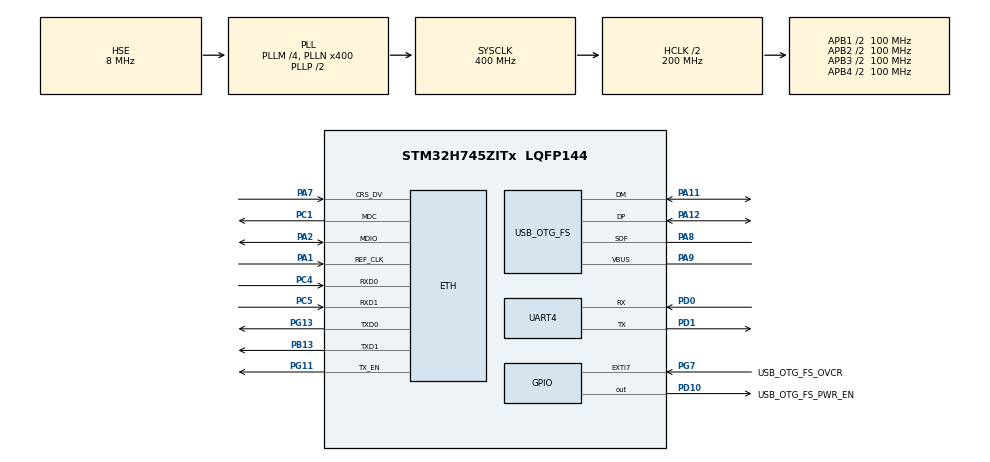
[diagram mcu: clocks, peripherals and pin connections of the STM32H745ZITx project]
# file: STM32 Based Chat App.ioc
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CORTEX_M7.AccessPermission_S-Cortex_Memory_Protection_Unit_Region1_Settings_S=MPU_REGION_FULL_ACCESS
CORTEX_M7.AccessPermission_S-Cortex_Memory_Protection_Unit_Region2_Settings_S=MPU_REGION_FULL_ACCESS
CORTEX_M7.BaseAddress_S-Cortex_Memory_Protection_Unit_Region1_Settings_S=0x30020000
CORTEX_M7.BaseAddress_S-Cortex_Memory_Protection_Unit_Region2_Settings_S=0x30040000
CORTEX_M7.CPU_DCache=Enabled
CORTEX_M7.CPU_ICache=Enabled
CORTEX_M7.DisableExec_S-Cortex_Memory_Protection_Unit_Region1_Settings_S=MPU_INSTRUCTION_ACCESS_DISABLE
CORTEX_M7.DisableExec_S-Cortex_Memory_Protection_Unit_Region2_Settings_S=MPU_INSTRUCTION_ACCESS_DISABLE
CORTEX_M7.Enable_S-Cortex_Memory_Protection_Unit_Region1_Settings_S=MPU_REGION_ENABLE
CORTEX_M7.Enable_S-Cortex_Memory_Protection_Unit_Region2_Settings_S=MPU_REGION_ENABLE
CORTEX_M7.IsBufferable_S-Cortex_Memory_Protection_Unit_Region2_Settings_S=MPU_ACCESS_BUFFERABLE
CORTEX_M7.IsShareable_S-Cortex_Memory_Protection_Unit_Region2_Settings_S=MPU_ACCESS_SHAREABLE
CORTEX_M7.Size_S-Cortex_Memory_Protection_Unit_Region1_Settings_S=MPU_REGION_SIZE_128KB
CORTEX_M7.Size_S-Cortex_Memory_Protection_Unit_Region2_Settings_S=MPU_REGION_SIZE_512B
CORTEX_M7.TypeExtField_S-Cortex_Memory_Protection_Unit_Region1_Settings_S=MPU_TEX_LEVEL1
CORTEX_M7.default_mode_Activation=1
CortexM4.IPs=FATFS_M4\:I,FREERTOS_M4\:I,IWDG2\:I,RCC,WWDG2\:I,DMA,BDMA,MDMA,NVIC2\:I,DEBUG,PDM2PCM_M4\:I,PWR,RESMGR_UTILITY,SYS_M4\:I,USB_DEVICE_M4\:I,USB_HOST_M4\:I,CORTEX_M4\:I,OPENAMP_M4\:I,VREFBUF
CortexM7.IPs=FATFS_M7\:I,FREERTOS_M7\:I,IWDG1\:I,RCC\:I,WWDG1\:I,DMA\:I,BDMA\:I,MDMA\:I,NVIC1\:I,SYS\:I,USB_OTG_FS\:I,ETH\:I,CORTEX_M7\:I,DEBUG\:I,PDM2PCM_M7\:I,PWR\:I,RESMGR_UTILITY\:I,USB_DEVICE_M7\:I,USB_HOST_M7\:I,OPENAMP_M7\:I,VREFBUF\:I,TIM6\:I,LWIP\:I,UART4\:I
Dma.Request0=UART4_TX
Dma.Request1=UART4_RX
Dma.UART4_RX.1.Direction=DMA_PERIPH_TO_MEMORY
Dma.UART4_RX.1.EventEnable=DISABLE
Dma.UART4_RX.1.FIFOMode=DMA_FIFOMODE_DISABLE
Dma.UART4_RX.1.Instance=DMA1_Stream1
Dma.UART4_RX.1.MemDataAlignment=DMA_MDATAALIGN_BYTE
Dma.UART4_RX.1.MemInc=DMA_MINC_ENABLE
Dma.UART4_RX.1.Mode=DMA_NORMAL
Dma.UART4_RX.1.PeriphDataAlignment=DMA_PDATAALIGN_BYTE
Dma.UART4_RX.1.PeriphInc=DMA_PINC_DISABLE
Dma.UART4_RX.1.Polarity=HAL_DMAMUX_REQ_GEN_RISING
Dma.UART4_RX.1.Priority=DMA_PRIORITY_LOW
Dma.UART4_RX.1.RequestNumber=1
Dma.UART4_RX.1.SignalID=NONE
Dma.UART4_RX.1.SyncEnable=DISABLE
Dma.UART4_RX.1.SyncPolarity=HAL_DMAMUX_SYNC_NO_EVENT
Dma.UART4_RX.1.SyncRequestNumber=1
Dma.UART4_RX.1.SyncSignalID=NONE
Dma.UART4_TX.0.Direction=DMA_MEMORY_TO_PERIPH
Dma.UART4_TX.0.EventEnable=DISABLE
Dma.UART4_TX.0.FIFOMode=DMA_FIFOMODE_DISABLE
Dma.UART4_TX.0.Instance=DMA1_Stream0
Dma.UART4_TX.0.MemDataAlignment=DMA_MDATAALIGN_BYTE
Dma.UART4_TX.0.MemInc=DMA_MINC_ENABLE
Dma.UART4_TX.0.Mode=DMA_NORMAL
Dma.UART4_TX.0.PeriphDataAlignment=DMA_PDATAALIGN_BYTE
Dma.UART4_TX.0.PeriphInc=DMA_PINC_DISABLE
Dma.UART4_TX.0.Polarity=HAL_DMAMUX_REQ_GEN_RISING
Dma.UART4_TX.0.Priority=DMA_PRIORITY_LOW
Dma.UART4_TX.0.RequestNumber=1
Dma.UART4_TX.0.SignalID=NONE
Dma.UART4_TX.0.SyncEnable=DISABLE
Dma.UART4_TX.0.SyncPolarity=HAL_DMAMUX_SYNC_NO_EVENT
Dma.UART4_TX.0.SyncRequestNumber=1
Dma.UART4_TX.0.SyncSignalID=NONE
ETH.MediaInterface=HAL_ETH_RMII_MODE
ETH.RxBuffAddress=0x30040200
ETH.RxBuffLen=1536
ETH.RxDescAddress=0x30040000
ETH.TxDescAddress=0x30040100
FREERTOS_M7.Tasks01=defaultTask,24,512,StartDefaultTask,Default,NULL,Dynamic,NULL,NULL;myTask02,24,512,StartTask02,Default,NULL,Dynamic,NULL,NULL
FREERTOS_M7.configCHECK_FOR_STACK_OVERFLOW=1
FREERTOS_M7.configMINIMAL_STACK_SIZE=512
FREERTOS_M7.configTOTAL_HEAP_SIZE=30*8192
FREERTOS_M7.configUSE_NEWLIB_REENTRANT=1
LWIP.BSP.number=1
LWIP.DEFAULT_THREAD_STACKSIZE=2048
LWIP.IP_ADDRESS=192.168.001.010
LWIP.LWIP_DHCP=0
LWIP.LWIP_RAM_HEAP_POINTER=0x30020000
LWIP.MEM_SIZE=131048
LWIP.NETMASK_ADDRESS=255.255.255.000
LWIP.TCPIP_THREAD_STACKSIZE=2048
LWIP.TCP_MSS=1460
LWIP.TCP_SND_BUF=5840
LWIP.TCP_SND_QUEUELEN=16
LWIP.Version=v2.1.2_Cube
LWIP0.BSP.STBoard=false
LWIP0.BSP.api=BSP_COMPONENT_DRIVER
LWIP0.BSP.component=LAN8742
LWIP0.BSP.instance=LAN8742
LWIP0.BSP.name=Driver_PHY
LWIP0.BSP.semaphore=S_LAN8742
LWIP0.BSP.solution=LAN8742
Mcu.Family=STM32H7
Mcu.Name=STM32H745ZITx
Mcu.Package=LQFP144
NVIC1.DMA1_Stream0_IRQn=true\:5\:0\:false\:false\:true\:true\:false\:true\:true
NVIC1.DMA1_Stream1_IRQn=true\:5\:0\:false\:false\:true\:true\:false\:true\:true
NVIC1.ETH_IRQn=true\:5\:0\:false\:false\:true\:true\:true\:true\:true
NVIC1.OTG_FS_IRQn=true\:5\:0\:false\:false\:true\:true\:false\:true\:true
NVIC1.PriorityGroup=NVIC_PRIORITYGROUP_4
NVIC1.TIM6_DAC_IRQn=true\:15\:0\:false\:false\:true\:false\:false\:true\:true
NVIC1.TimeBase=TIM6_DAC_IRQn
NVIC1.TimeBaseIP=TIM6
NVIC1.UART4_IRQn=true\:5\:0\:false\:false\:true\:true\:true\:true\:true
NVIC2.PriorityGroup=NVIC_PRIORITYGROUP_4
PA1.GPIO_Speed=GPIO_SPEED_FREQ_VERY_HIGH
PA1.Mode=RMII
PA1.PinAttribute=CortexM7
PA1.Signal=ETH_REF_CLK
PA11.Mode=Host_Only
PA11.PinAttribute=CortexM7
PA11.Signal=USB_OTG_FS_DM
PA12.Mode=Host_Only
PA12.PinAttribute=CortexM7
PA12.Signal=USB_OTG_FS_DP
PA2.GPIO_Speed=GPIO_SPEED_FREQ_VERY_HIGH
PA2.Mode=RMII
PA2.PinAttribute=CortexM7
PA2.Signal=ETH_MDIO
PA7.GPIO_Speed=GPIO_SPEED_FREQ_VERY_HIGH
PA7.Mode=RMII
PA7.PinAttribute=CortexM7
PA7.Signal=ETH_CRS_DV
PA8.Mode=Activate_SOF_FS
PA8.PinAttribute=CortexM7
PA8.Signal=USB_OTG_FS_SOF
PA9.Mode=Activate_VBUS
PA9.PinAttribute=CortexM7
PA9.Signal=USB_OTG_FS_VBUS
PB13.GPIO_Speed=GPIO_SPEED_FREQ_VERY_HIGH
PB13.Mode=RMII
PB13.PinAttribute=CortexM7
PB13.Signal=ETH_TXD1
PC1.GPIO_Speed=GPIO_SPEED_FREQ_VERY_HIGH
PC1.Mode=RMII
PC1.PinAttribute=CortexM7
PC1.Signal=ETH_MDC
PC14-OSC32_IN\ (OSC32_IN).PinAttribute=CortexM7
PC14-OSC32_IN\ (OSC32_IN).Signal=RCC_OSC32_IN
PC15-OSC32_OUT\ (OSC32_OUT).PinAttribute=CortexM7
PC15-OSC32_OUT\ (OSC32_OUT).Signal=RCC_OSC32_OUT
PC4.GPIO_Speed=GPIO_SPEED_FREQ_VERY_HIGH
PC4.Mode=RMII
PC4.PinAttribute=CortexM7
PC4.Signal=ETH_RXD0
PC5.GPIO_Speed=GPIO_SPEED_FREQ_VERY_HIGH
PC5.Mode=RMII
PC5.PinAttribute=CortexM7
PC5.Signal=ETH_RXD1
PD0.Mode=Asynchronous
PD0.PinAttribute=CortexM7
PD0.Signal=UART4_RX
PD1.Mode=Asynchronous
PD1.PinAttribute=CortexM7
PD1.Signal=UART4_TX
PD10.GPIO_Label=USB_OTG_FS_PWR_EN
PD10.PinAttribute=Free
PD10.Signal=GPIO_Output
PG11.GPIO_Speed=GPIO_SPEED_FREQ_VERY_HIGH
PG11.Mode=RMII
PG11.PinAttribute=CortexM7
PG11.Signal=ETH_TX_EN
PG13.GPIO_Speed=GPIO_SPEED_FREQ_VERY_HIGH
PG13.Mode=RMII
PG13.PinAttribute=CortexM7
PG13.Signal=ETH_TXD0
PG7.GPIO_Label=USB_OTG_FS_OVCR
PG7.PinAttribute=Free
PG7.Signal=GPXTI7
PH0-OSC_IN\ (PH0).Mode=HSE-External-Clock-Source
PH0-OSC_IN\ (PH0).PinAttribute=CortexM7
PH0-OSC_IN\ (PH0).Signal=RCC_OSC_IN
PH1-OSC_OUT\ (PH1).PinAttribute=CortexM7
PH1-OSC_OUT\ (PH1).Signal=RCC_OSC_OUT
ProjectManager.HeapSize=M4-0x200,M7-0x200
ProjectManager.StackSize=M4-0x400,M7-0x400
ProjectManager.TargetToolchain=STM32CubeIDE
RCC.ADCFreq_Value=16125000
RCC.APB1Freq_Value=100000000
RCC.APB2Freq_Value=100000000
RCC.APB3Freq_Value=100000000
RCC.APB4Freq_Value=100000000
RCC.CortexFreq_Value=400000000
RCC.D1PPRE=RCC_APB3_DIV2
RCC.D2PPRE1=RCC_APB1_DIV2
RCC.D2PPRE2=RCC_APB2_DIV2
RCC.D3PPRE=RCC_APB4_DIV2
RCC.DIVM1=4
RCC.DIVM3=7
RCC.DIVN1=400
RCC.DIVN3=169
RCC.DIVQ3=4
RCC.HCLKFreq_Value=200000000
RCC.HPRE=RCC_HCLK_DIV2
RCC.HSE_VALUE=8000000
RCC.PLL2FRACN=0
RCC.PLL3FRACN=0
RCC.PLLFRACN=0
RCC.SYSCLKFreq_VALUE=400000000
RCC.SYSCLKSource=RCC_SYSCLKSOURCE_PLLCLK
RCC.SupplySource=PWR_DIRECT_SMPS_SUPPLY
RCC.USBCLockSelection=RCC_USBCLKSOURCE_PLL3
RCC.USBFreq_Value=48285714.28571429
USB_HOST.BSP.number=1
USB_HOST0.BSP.STBoard=false
USB_HOST0.BSP.api=Unknown
USB_HOST0.BSP.instance=PD10
USB_HOST0.BSP.ip=GPIO
USB_HOST0.BSP.mode=Output
USB_HOST0.BSP.name=Drive_VBUS_FS
USB_HOST0.BSP.solution=PD10
USB_HOST_M7.USBH_HandleTypeDef-HID_FS=hUsbHostFS
USB_HOST_M7.VirtualModeFS=Hid
USB_OTG_FS.VirtualMode=Host_Only
USB_OTG_FS.phy_itface=HCD_PHY_EMBEDDED
VP_FREERTOS_M7_VS_CMSIS_V2.Mode=CMSIS_V2
VP_LWIP_VS_Enabled.Mode=Enabled
VP_SYS_M4_VS_Systick.Mode=SysTick
VP_SYS_VS_tim6.Mode=TIM6
VP_USB_HOST_M7_VS_USB_HOST_HID_FS.Mode=HID_FS
board=NUCLEO-H745ZI-Q

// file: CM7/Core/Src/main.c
/* USER CODE BEGIN Header */
/**
  ******************************************************************************
  * @file           : main.c
  * @brief          : Main program body
  ******************************************************************************
  * @attention
  *
  * Copyright (c) 2022 STMicroelectronics.
  * All rights reserved.
  *
  * This software is licensed under terms that can be found in the LICENSE file
  * in the root directory of this software component.
  * If no LICENSE file comes with this software, it is provided AS-IS.
  *
  ******************************************************************************
  */
/* USER CODE END Header */
#include "main.h"
#include "cmsis_os.h"
#include "lwip.h"
#include "usb_host.h"

/* USER CODE BEGIN Includes */
/* ETH_CODE: add lwiperf, see comment in StartDefaultTask function */
#include "lwip/apps/lwiperf.h"
#include "lwip/debug.h"
#include "lwip/stats.h"
#include "lwip/tcp.h"
#include "usbh_hid.h"
#include "string.h"
#include "stdbool.h"
/* USER CODE END Includes */

/* USER CODE BEGIN PTD */
typedef enum
{
	NOT_CONNECTED_TO_SERVER,
	CONNECTED_TO_SERVER
}Server_Connection_Status;

typedef enum
{
	NONE,
	NEXTION_MESSAGE_ARRIVED,
	NEXTION_SERVER_INPUT,
	NEXTION_PORT_INPUT,
	NEXTION_CONNECT_COMMAND,
	TCP_MESSAGE_ARRIVED,
	NEXTION_MESSAGE_INPUT,
	SEND_TCP_MESSAGE,
	NEXTION_GO_TO_NEXT_PAGE,
	TCP_CONNECTION_ERROR
}Condition;
/* USER CODE END PTD */

/* USER CODE BEGIN PD */

#ifndef HSEM_ID_0
#define HSEM_ID_0 (0U) /* HW semaphore 0*/
#endif
/* USER CODE END PD */

UART_HandleTypeDef huart4;
DMA_HandleTypeDef hdma_uart4_tx;
DMA_HandleTypeDef hdma_uart4_rx;

/* Definitions for defaultTask */
osThreadId_t defaultTaskHandle;
const osThreadAttr_t defaultTask_attributes = {
  .name = "defaultTask",
  .stack_size = 512 * 4,
  .priority = (osPriority_t) osPriorityNormal,
};
/* Definitions for myTask02 */
osThreadId_t myTask02Handle;
const osThreadAttr_t myTask02_attributes = {
  .name = "myTask02",
  .stack_size = 512 * 4,
  .priority = (osPriority_t) osPriorityNormal,
};

void SystemClock_Config(void);
static void MPU_Config(void);
static void MX_GPIO_Init(void);
static void MX_DMA_Init(void);
static void MX_UART4_Init(void);
void StartDefaultTask(void *argument);
void StartTask02(void *argument);

/* USER CODE BEGIN PFP */
uint8_t received_message[100];
uint8_t keybord_buffer[100];
uint8_t keyboard_indis = 0;

uint8_t error_message[] = {'t','0','.','t','x','t','+','=','\"','.','.','.','C','o','n','n','e','c','t','i','o','n',' ','L','o','s','t',' ','.','.','.','\r','\n','\"',0xFF,0xFF,0xFF};
uint8_t clear_command[] = {'t','1','.','t','x','t','=','\"','\"',0xFF,0xFF,0xFF};
uint8_t make_button_visible[] = {'v','i','s',' ','b','1',',','1',0xFF,0xFF,0xFF};

uint8_t nextion_buffer[100];

struct tcp_pcb *tcp_block;
HID_KEYBD_Info_TypeDef *keyboard;
struct pbuf *received_buffer;

uint8_t server_adress_char[20];
uint8_t port_char[20];

uint8_t server_address[20];
uint8_t port[20];

bool sent = false;
Condition previous_condition = 0;

Server_Connection_Status server_connection_status;
Condition condition;

uint8_t ip[4];
uint8_t n_tokens = 4;

char **token_arr (const char *str, int *n_tokens)
{
    char **arr = malloc(*n_tokens * sizeof *arr);
    char str2 [strlen(str) + 1];
    int i = 0;

    strcpy (str2, str);

    char *p = strtok (str2, ".");

    while (i < *n_tokens && p != NULL) {    /* check used pointers */
        arr[i] = strdup (p);
        p = strtok (NULL, ".");
        i++;
    }
    *n_tokens = i;  /* assign i to make tokes assigned available */

    return arr;
}

bool compare(uint8_t string1[], uint8_t string2[])
{
	uint8_t len = strlen((const char *) string2);
	bool result = true;
	for(uint8_t i = 0 ; i < len ; i++)
	{
		if(string1[i] != string2[i])
		{
			result = false;
			break;
		}

	}
	return result;
}

void USBH_HID_EventCallback(USBH_HandleTypeDef *phost)
{
  if(USBH_HID_GetDeviceType(phost) == HID_KEYBOARD)
  {
	  keyboard = USBH_HID_GetKeybdInfo(phost);
	   uint8_t character = USBH_HID_GetASCIICode(keyboard);
	  if(character != 0)
	{
		 if(keyboard->keys[0] == KEY_ENTER)
		 {
			 condition = SEND_TCP_MESSAGE;
		 }
		 else
		 {
		     keybord_buffer[keyboard_indis] = character;
		     keyboard_indis++;
		     sent = false;
		     if(condition == NEXTION_SERVER_INPUT || condition == NEXTION_PORT_INPUT)
		     {
		    	 condition = condition;
		     }
		     else
		     {
		    	 condition = NEXTION_MESSAGE_INPUT;
		     }

		 }

	}

  }
}

extern USBH_HandleTypeDef hUsbHostFS;

err_t tcp_message_received_callback(void *arg, struct tcp_pcb *tpcb,struct pbuf *p, err_t err)
{
	if(err == ERR_ABRT)
	{
		condition = TCP_CONNECTION_ERROR;
	}
	else
	{
		received_buffer = p;
		condition = TCP_MESSAGE_ARRIVED;
	}

	return err;
}

err_t tcp_message_sent_callback(void *arg, struct tcp_pcb *tpcb,  u16_t len)
{
	 return 0;
}

void  tcp_connection_error_callback(void *arg, err_t err)
{
	condition = TCP_CONNECTION_ERROR;
}

 err_t tcp_connected_to_server_callback(void *arg, struct tcp_pcb *tpcb, err_t err)
 {
	 server_connection_status = CONNECTED_TO_SERVER;
	 tcp_sent(tcp_block, tcp_message_sent_callback);
	 tcp_recv(tcp_block, tcp_message_received_callback);
	 tcp_err(tpcb, tcp_connection_error_callback);
	 condition = NEXTION_GO_TO_NEXT_PAGE;
	 return err;
 }

/* USER CODE END PFP */

/* USER CODE BEGIN 0 */
 uint8_t nextion_cmd[50];
 static uint8_t buffer[50];
 void HAL_UARTEx_RxEventCallback(UART_HandleTypeDef *huart, uint16_t Size)
 {
	 condition = NEXTION_MESSAGE_ARRIVED;
	 memcpy(nextion_cmd,buffer,Size);
	 memset(buffer,0,Size);
	 HAL_UARTEx_ReceiveToIdle_IT(&huart4, buffer, 50);
 }
/* USER CODE END 0 */

int main(void)
{
/* USER CODE BEGIN Boot_Mode_Sequence_0 */

/* USER CODE END Boot_Mode_Sequence_0 */

  /* MPU Configuration--------------------------------------------------------*/
  MPU_Config();

  /* Enable I-Cache---------------------------------------------------------*/
  SCB_EnableICache();

  /* Enable D-Cache---------------------------------------------------------*/
  SCB_EnableDCache();

/* USER CODE BEGIN Boot_Mode_Sequence_1 */

/* USER CODE END Boot_Mode_Sequence_1 */
  /* MCU Configuration--------------------------------------------------------*/

  /* Reset of all peripherals, Initializes the Flash interface and the Systick. */
  HAL_Init();

  /* Configure the system clock */
  SystemClock_Config();
/* USER CODE BEGIN Boot_Mode_Sequence_2 */

/* USER CODE END Boot_Mode_Sequence_2 */

  /* Initialize all configured peripherals */
  MX_GPIO_Init();
  MX_DMA_Init();
  MX_UART4_Init();
  /* USER CODE BEGIN 2 */
  HAL_UARTEx_ReceiveToIdle_IT(&huart4, buffer, 50);
  /* ETH_CODE: fixed core synchronization
   * Release M4 core after GPIO and peripherals init
   * to avoid conflict.
   */
  __HAL_RCC_HSEM_CLK_ENABLE();
  HAL_HSEM_FastTake(HSEM_ID_0);
  HAL_HSEM_Release(HSEM_ID_0,0);
  /* USER CODE END 2 */

  /* Init scheduler */
  osKernelInitialize();

  /* Create the thread(s) */
  /* creation of defaultTask */
  defaultTaskHandle = osThreadNew(StartDefaultTask, NULL, &defaultTask_attributes);

  /* creation of myTask02 */
  myTask02Handle = osThreadNew(StartTask02, NULL, &myTask02_attributes);

  /* Start scheduler */
  osKernelStart();

  /* We should never get here as control is now taken by the scheduler */
  /* Infinite loop */
  while (1)
  {

  }
}

void SystemClock_Config(void)
{
  RCC_OscInitTypeDef RCC_OscInitStruct = {0};
  RCC_ClkInitTypeDef RCC_ClkInitStruct = {0};

  /** Supply configuration update enable
  */
  HAL_PWREx_ConfigSupply(PWR_DIRECT_SMPS_SUPPLY);

  /** Configure the main internal regulator output voltage
  */
  __HAL_PWR_VOLTAGESCALING_CONFIG(PWR_REGULATOR_VOLTAGE_SCALE1);

  while(!__HAL_PWR_GET_FLAG(PWR_FLAG_VOSRDY)) {}

  /** Macro to configure the PLL clock source
  */
  __HAL_RCC_PLL_PLLSOURCE_CONFIG(RCC_PLLSOURCE_HSE);

  /** Initializes the RCC Oscillators according to the specified parameters
  * in the RCC_OscInitTypeDef structure.
  */
  RCC_OscInitStruct.OscillatorType = RCC_OSCILLATORTYPE_HSE;
  RCC_OscInitStruct.HSEState = RCC_HSE_BYPASS;
  RCC_OscInitStruct.PLL.PLLState = RCC_PLL_ON;
  RCC_OscInitStruct.PLL.PLLSource = RCC_PLLSOURCE_HSE;
  RCC_OscInitStruct.PLL.PLLM = 4;
  RCC_OscInitStruct.PLL.PLLN = 400;
  RCC_OscInitStruct.PLL.PLLP = 2;
  RCC_OscInitStruct.PLL.PLLQ = 2;
  RCC_OscInitStruct.PLL.PLLR = 2;
  RCC_OscInitStruct.PLL.PLLRGE = RCC_PLL1VCIRANGE_1;
  RCC_OscInitStruct.PLL.PLLVCOSEL = RCC_PLL1VCOWIDE;
  RCC_OscInitStruct.PLL.PLLFRACN = 0;
  if (HAL_RCC_OscConfig(&RCC_OscInitStruct) != HAL_OK)
  {
    Error_Handler();
  }

  /** Initializes the CPU, AHB and APB buses clocks
  */
  RCC_ClkInitStruct.ClockType = RCC_CLOCKTYPE_HCLK|RCC_CLOCKTYPE_SYSCLK
                              |RCC_CLOCKTYPE_PCLK1|RCC_CLOCKTYPE_PCLK2
                              |RCC_CLOCKTYPE_D3PCLK1|RCC_CLOCKTYPE_D1PCLK1;
  RCC_ClkInitStruct.SYSCLKSource = RCC_SYSCLKSOURCE_PLLCLK;
  RCC_ClkInitStruct.SYSCLKDivider = RCC_SYSCLK_DIV1;
  RCC_ClkInitStruct.AHBCLKDivider = RCC_HCLK_DIV2;
  RCC_ClkInitStruct.APB3CLKDivider = RCC_APB3_DIV2;
  RCC_ClkInitStruct.APB1CLKDivider = RCC_APB1_DIV2;
  RCC_ClkInitStruct.APB2CLKDivider = RCC_APB2_DIV2;
  RCC_ClkInitStruct.APB4CLKDivider = RCC_APB4_DIV2;

  if (HAL_RCC_ClockConfig(&RCC_ClkInitStruct, FLASH_LATENCY_2) != HAL_OK)
  {
    Error_Handler();
  }
}

static void MX_UART4_Init(void)
{

  huart4.Instance = UART4;
  huart4.Init.BaudRate = 115200;
  huart4.Init.WordLength = UART_WORDLENGTH_8B;
  huart4.Init.StopBits = UART_STOPBITS_1;
  huart4.Init.Parity = UART_PARITY_NONE;
  huart4.Init.Mode = UART_MODE_TX_RX;
  huart4.Init.HwFlowCtl = UART_HWCONTROL_NONE;
  huart4.Init.OverSampling = UART_OVERSAMPLING_16;
  huart4.Init.OneBitSampling = UART_ONE_BIT_SAMPLE_DISABLE;
  huart4.Init.ClockPrescaler = UART_PRESCALER_DIV1;
  huart4.AdvancedInit.AdvFeatureInit = UART_ADVFEATURE_NO_INIT;
  if (HAL_UART_Init(&huart4) != HAL_OK)
  {
    Error_Handler();
  }
  if (HAL_UARTEx_SetTxFifoThreshold(&huart4, UART_TXFIFO_THRESHOLD_1_8) != HAL_OK)
  {
    Error_Handler();
  }
  if (HAL_UARTEx_SetRxFifoThreshold(&huart4, UART_RXFIFO_THRESHOLD_1_8) != HAL_OK)
  {
    Error_Handler();
  }
  if (HAL_UARTEx_DisableFifoMode(&huart4) != HAL_OK)
  {
    Error_Handler();
  }

}

static void MX_DMA_Init(void)
{

  /* DMA controller clock enable */
  __HAL_RCC_DMA1_CLK_ENABLE();

  /* DMA interrupt init */
  /* DMA1_Stream0_IRQn interrupt configuration */
  HAL_NVIC_SetPriority(DMA1_Stream0_IRQn, 5, 0);
  HAL_NVIC_EnableIRQ(DMA1_Stream0_IRQn);
  /* DMA1_Stream1_IRQn interrupt configuration */
  HAL_NVIC_SetPriority(DMA1_Stream1_IRQn, 5, 0);
  HAL_NVIC_EnableIRQ(DMA1_Stream1_IRQn);

}

static void MX_GPIO_Init(void)
{
  GPIO_InitTypeDef GPIO_InitStruct = {0};

  /* GPIO Ports Clock Enable */
  __HAL_RCC_GPIOC_CLK_ENABLE();
  __HAL_RCC_GPIOH_CLK_ENABLE();
  __HAL_RCC_GPIOA_CLK_ENABLE();
  __HAL_RCC_GPIOB_CLK_ENABLE();
  __HAL_RCC_GPIOD_CLK_ENABLE();
  __HAL_RCC_GPIOG_CLK_ENABLE();

  /*Configure GPIO pin Output Level */
  HAL_GPIO_WritePin(USB_OTG_FS_PWR_EN_GPIO_Port, USB_OTG_FS_PWR_EN_Pin, GPIO_PIN_RESET);

  /*Configure GPIO pin : USB_OTG_FS_PWR_EN_Pin */
  GPIO_InitStruct.Pin = USB_OTG_FS_PWR_EN_Pin;
  GPIO_InitStruct.Mode = GPIO_MODE_OUTPUT_PP;
  GPIO_InitStruct.Pull = GPIO_NOPULL;
  GPIO_InitStruct.Speed = GPIO_SPEED_FREQ_LOW;
  HAL_GPIO_Init(USB_OTG_FS_PWR_EN_GPIO_Port, &GPIO_InitStruct);

}

void StartDefaultTask(void *argument)
{
  /* init code for LWIP */
  MX_LWIP_Init();

  /* USER CODE BEGIN 5 */

    /* Infinite loop */
    for(;;)
    {
    	switch(condition)
{

    	case NONE:

    	{
    		break;
    	}

    	case NEXTION_MESSAGE_ARRIVED:

    	{
      	    if(compare(nextion_cmd,(uint8_t *) "Server Address"))
      	    {

      		    memset(keybord_buffer,0,keyboard_indis);
      		    memset(server_address,0,strlen((const char *)server_address));
      		    keyboard_indis = 0;
      		    sent = false;
      		    previous_condition = NEXTION_SERVER_INPUT;
      		    condition = NEXTION_SERVER_INPUT;
      	    }
      	    else if(compare(nextion_cmd,(uint8_t *) "Port Number"))
      	    {
      		    memset(keybord_buffer,0,keyboard_indis);
      		    memset(port,0,strlen((const char *) port));
      		    keyboard_indis = 0;
      		    sent = false;
      		    previous_condition = NEXTION_PORT_INPUT;
      		    condition = NEXTION_PORT_INPUT;
      	    }
      	    else if(compare(nextion_cmd,(uint8_t *) "Connect"))
      	    {
      	  	    previous_condition = NEXTION_CONNECT_COMMAND;
      		    condition = NEXTION_CONNECT_COMMAND;
      	    }
      	    else
      	    {
      	    	condition = previous_condition;
      	    }

      	    memset(nextion_cmd,0,strlen((const char *) nextion_cmd));
      	    break;
    	}

    	case NEXTION_SERVER_INPUT:

    	{
      	  if(!sent)
      	  {
      		  memset(server_adress_char,0,strlen((const char *) server_adress_char));
      		  memcpy(server_adress_char,"t1.txt=\"",8);
      		  memcpy(server_address,keybord_buffer,keyboard_indis);
      		  strcat((char *) server_adress_char, (char *)keybord_buffer);
      		  strcat((char *) server_adress_char, (char *) "\"");
      		  uint8_t total = 9 + strlen((const char *)keybord_buffer);
      		  server_adress_char[total] = 0xFF;
      		  server_adress_char[total + 1] = 0xFF;
      		  server_adress_char[total + 2] = 0xFF;
      		  HAL_UART_Transmit(&huart4, server_adress_char, strlen((const char *) server_adress_char), 100);
      		  sent =  true;
      	  }
      	  break;
    	}

    	case NEXTION_PORT_INPUT:

    	{
      	  if(!sent)
      	  {
      		  memset(port_char,0,strlen((const char *) port_char));
      		  memcpy(port_char,"t3.txt=\"",8);
      		  memcpy(port,keybord_buffer,keyboard_indis);
      		  strcat((char *) port_char,(char *) keybord_buffer);
      		  strcat((char *) port_char,(char *) "\"");
      		  uint8_t total = 9 + strlen((const char *) keybord_buffer);
      		  port_char[total] = 0xFF;
      		  port_char[total + 1] = 0xFF;
      		  port_char[total + 2] = 0xFF;
      		  HAL_UART_Transmit(&huart4, port_char, strlen((const char *) port_char), 100);
      		  sent =  true;
      	  }
      	  break;
    	}

    	case NEXTION_CONNECT_COMMAND:

    	{
      	  if(server_connection_status == NOT_CONNECTED_TO_SERVER)
      	  {

        	    char **expression = token_arr ((const char *) server_address,(int *) &n_tokens);

        	    if (expression) {       /* validate token_arr succeeded */
        	        for (int i = 0; i < n_tokens; i++) { /* n_tokens times */
        	           ip[i] = atoi(expression[i]);
        	            free (expression[i]);
        	        }
        	        free (expression);
        	    }

        	    uint16_t port_number = atoi((const char *) port);

        	    memset(keybord_buffer,0,keyboard_indis);
        	    keyboard_indis = 0;

        	    ip4_addr_t server_Address;

        	    LOCK_TCPIP_CORE();

        	    tcp_block = tcp_new();
        	    IP4_ADDR(&server_Address, ip[0], ip[1], ip[2], ip[3]);
        	    tcp_connect(tcp_block, &server_Address, port_number, tcp_connected_to_server_callback);

        	    UNLOCK_TCPIP_CORE();

        	    condition = NONE;
      	  }
      	  break;
    	}

    	case TCP_MESSAGE_ARRIVED:

    	{
  	   	    memcpy(received_message,received_buffer->payload,received_buffer->len);
  	        LOCK_TCPIP_CORE();
  	        tcp_recved(tcp_block, received_buffer->len);
  	   	    UNLOCK_TCPIP_CORE();
  	   	    size_t message_len = strlen((const char *) received_message);
  	   	    memcpy(nextion_buffer,"t0.txt+=\"",9);
  	   	    strcat((char *) nextion_buffer,(char *) received_message);
      	    strcat((char *) nextion_buffer,(char *) "\r\n\"");
 	        uint8_t total = 12 +  message_len;
 	    	nextion_buffer[total] = 0xFF;
 	    	nextion_buffer[total + 1] = 0xFF;
 	    	nextion_buffer[total + 2] = 0xFF;
 	    	HAL_UART_Transmit(&huart4, nextion_buffer, total+3,100);
  	        memset(nextion_buffer,0,total + 3);
            memset( received_message, 0, message_len);
            condition =  NONE;
            break;
    	}

    	case SEND_TCP_MESSAGE:

    	{
    		uint8_t tcp_message[100] = "STM32-> ";
			strcat((char *) tcp_message, (const char *) keybord_buffer);
    	    LOCK_TCPIP_CORE();
    	    tcp_write(tcp_block, tcp_message,( keyboard_indis + 8), TCP_WRITE_FLAG_COPY );
    	    tcp_output(tcp_block);
    	    UNLOCK_TCPIP_CORE();
    		memcpy(nextion_buffer,"t0.txt+=\"STM32-> ",17);
    		strcat((char *) nextion_buffer, (char *) keybord_buffer);
    		strcat((char *) nextion_buffer, (char *) "\r\n\"");
    		uint8_t total = 17 + keyboard_indis + 3;
    		nextion_buffer[total] = 0xFF;
    		nextion_buffer[total + 1] = 0xFF;
    		nextion_buffer[total + 2] = 0xFF;
    		HAL_UART_Transmit(&huart4, nextion_buffer, total + 3,100);
    		HAL_UART_Transmit(&huart4, clear_command , 12, 100);
    		memset(keybord_buffer,0,keyboard_indis);
    		memset(nextion_buffer,0,total + 3);
    	    keyboard_indis = 0;
    	    condition = NONE;
    	    break;
    	}

    	case NEXTION_MESSAGE_INPUT:

    	{
    		memcpy(nextion_buffer,"t1.txt=\"",8);
    		strcat((char *) nextion_buffer, (char *) keybord_buffer);
    		strcat((char *) nextion_buffer, (char *) "\"");
    		uint8_t total = 8 + keyboard_indis + 1;
    		nextion_buffer[total] = 0xFF;
    		nextion_buffer[total + 1] = 0xFF;
    		nextion_buffer[total + 2] = 0xFF;
    		HAL_UART_Transmit(&huart4, nextion_buffer, total + 3,100);
    		memset(nextion_buffer,0,total + 3);
    		condition = NONE;
    		break;
    	}

    	case NEXTION_GO_TO_NEXT_PAGE:

    	{
            HAL_UART_Transmit(&huart4, make_button_visible , 11,100);
      	    condition = NONE;
      	    break;
    	}

    	case TCP_CONNECTION_ERROR:

    	{
    		HAL_UART_Transmit(&huart4, error_message, 38, 100);
      	    condition = NONE;
      	    break;
    	}

      }

    }
  /* USER CODE END 5 */
}

void StartTask02(void *argument)
{
  /* USER CODE BEGIN StartTask02 */

   /* init code for USB_HOST */
  MX_USB_HOST_Init();

  /* Infinite loop */
  for(;;)
  {
	  USBH_Process(&hUsbHostFS);
  }
  /* USER CODE END StartTask02 */
}

/* MPU Configuration */

void MPU_Config(void)
{
  MPU_Region_InitTypeDef MPU_InitStruct = {0};

  /* Disables the MPU */
  HAL_MPU_Disable();

  /** Initializes and configures the Region and the memory to be protected
  */
  MPU_InitStruct.Enable = MPU_REGION_ENABLE;
  MPU_InitStruct.Number = MPU_REGION_NUMBER0;
  MPU_InitStruct.BaseAddress = 0x0;
  MPU_InitStruct.Size = MPU_REGION_SIZE_4GB;
  MPU_InitStruct.SubRegionDisable = 0x87;
  MPU_InitStruct.TypeExtField = MPU_TEX_LEVEL0;
  MPU_InitStruct.AccessPermission = MPU_REGION_NO_ACCESS;
  MPU_InitStruct.DisableExec = MPU_INSTRUCTION_ACCESS_DISABLE;
  MPU_InitStruct.IsShareable = MPU_ACCESS_SHAREABLE;
  MPU_InitStruct.IsCacheable = MPU_ACCESS_NOT_CACHEABLE;
  MPU_InitStruct.IsBufferable = MPU_ACCESS_NOT_BUFFERABLE;

  HAL_MPU_ConfigRegion(&MPU_InitStruct);

  /** Initializes and configures the Region and the memory to be protected
  */
  MPU_InitStruct.Number = MPU_REGION_NUMBER1;
  MPU_InitStruct.BaseAddress = 0x30020000;
  MPU_InitStruct.Size = MPU_REGION_SIZE_128KB;
  MPU_InitStruct.SubRegionDisable = 0x0;
  MPU_InitStruct.TypeExtField = MPU_TEX_LEVEL1;
  MPU_InitStruct.AccessPermission = MPU_REGION_FULL_ACCESS;
  MPU_InitStruct.IsShareable = MPU_ACCESS_NOT_SHAREABLE;

  HAL_MPU_ConfigRegion(&MPU_InitStruct);

  /** Initializes and configures the Region and the memory to be protected
  */
  MPU_InitStruct.Number = MPU_REGION_NUMBER2;
  MPU_InitStruct.BaseAddress = 0x30040000;
  MPU_InitStruct.Size = MPU_REGION_SIZE_512B;
  MPU_InitStruct.TypeExtField = MPU_TEX_LEVEL0;
  MPU_InitStruct.IsShareable = MPU_ACCESS_SHAREABLE;
  MPU_InitStruct.IsBufferable = MPU_ACCESS_BUFFERABLE;

  HAL_MPU_ConfigRegion(&MPU_InitStruct);
  /* Enables the MPU */
  HAL_MPU_Enable(MPU_PRIVILEGED_DEFAULT);

}

void HAL_TIM_PeriodElapsedCallback(TIM_HandleTypeDef *htim)
{
  if (htim->Instance == TIM6) {
    HAL_IncTick();
  }
}

void Error_Handler(void)
{
  __disable_irq();
  while (1)
  {
  }
}

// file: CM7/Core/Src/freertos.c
/* USER CODE BEGIN Header */
/**
  ******************************************************************************
  * File Name          : freertos.c
  * Description        : Code for freertos applications
  ******************************************************************************
  * @attention
  *
  * Copyright (c) 2022 STMicroelectronics.
  * All rights reserved.
  *
  * This software is licensed under terms that can be found in the LICENSE file
  * in the root directory of this software component.
  * If no LICENSE file comes with this software, it is provided AS-IS.
  *
  ******************************************************************************
  */
/* USER CODE END Header */

#include "FreeRTOS.h"
#include "task.h"
#include "main.h"

/* Hook prototypes */
void vApplicationStackOverflowHook(xTaskHandle xTask, signed char *pcTaskName);

/* USER CODE BEGIN 4 */
void vApplicationStackOverflowHook(xTaskHandle xTask, signed char *pcTaskName)
{
   /* ETH_CODE: add breakpoint when stack oveflow is detected by FreeRTOS.
	* Useful for debugging issues.
	*/
   __BKPT(0);
}
/* USER CODE END 4 */
